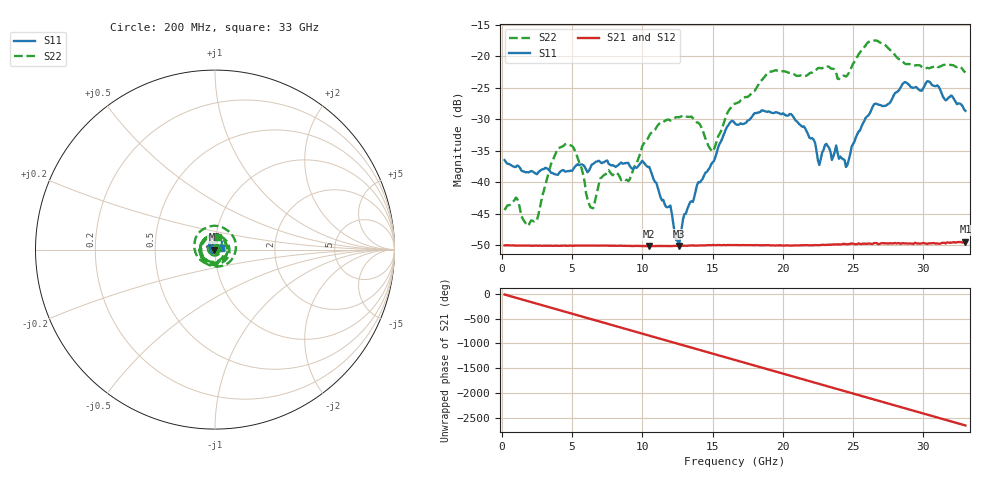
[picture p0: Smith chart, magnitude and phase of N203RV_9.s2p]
# GHZ S RI R 50
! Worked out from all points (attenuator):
!   329 points, 200 MHz to 33 GHz, reference 50 ohm
!   highest |S21| = -49.42 dB at 33 GHz (marker M1); lowest = -50.1 dB at 10.5 GHz (marker M2)
!   lowest |S11| = -50.1 dB at 12.6 GHz (marker M3), VSWR 1.01, Z = 49.7 + j0.0144 ohm
!   |S11| at or under -10 dB: start of sweep to end of sweep
!   |S22| runs from -46.9 to -17.5 dB; largest |S21 - S12| = 7.2e-05
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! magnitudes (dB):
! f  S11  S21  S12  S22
! 200 MHz  -36.5  -50.0  -50.0  -44.4
! 2.5 GHz  -38.7  -50.0  -50.0  -46.0
! 3.5 GHz  -38.5  -50.0  -50.0  -37.1
! 4.5 GHz  -38.3  -50.0  -50.0  -34.0
! 5.7 GHz  -37.2  -50.0  -50.0  -37.9
! 6.5 GHz  -37.1  -50.0  -50.0  -44.1
! 7 GHz  -36.7  -50.0  -50.0  -39.4
! 9 GHz  -36.9  -50.1  -50.0  -39.8
! 10.5 GHz  -37.6  -50.1  -50.1  -32.6
! 11.2 GHz  -41.6  -50.1  -50.1  -30.7
! 12.6 GHz  -50.1  -50.1  -50.0  -29.7
! 15 GHz  -36.8  -49.9  -49.9  -35.1
! 16.6 GHz  -30.7  -49.9  -49.9  -27.5
! 20.6 GHz  -29.2  -50.0  -50.0  -22.7
! 22.1 GHz  -33.0  -50.0  -49.9  -22.6
! 22.6 GHz  -37.3  -50.0  -49.9  -21.9
! 23.1 GHz  -33.9  -49.9  -49.9  -21.6
! 24.5 GHz  -37.6  -49.8  -49.8  -23.2
! 26.5 GHz  -27.6  -49.6  -49.7  -17.5
! 27.6 GHz  -27.5  -49.6  -49.7  -18.9
! 30.3 GHz  -24.0  -49.8  -49.7  -21.9
! 33 GHz  -28.7  -49.4  -49.4  -22.6
